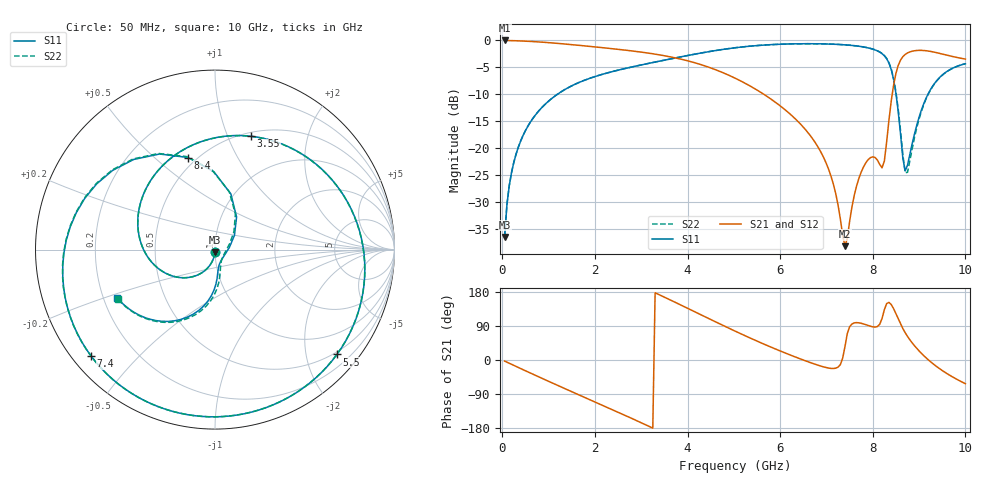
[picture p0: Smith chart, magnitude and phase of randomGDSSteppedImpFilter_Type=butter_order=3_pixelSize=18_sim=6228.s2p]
! freq	dB(S11)	phase(S11)	dB(S12)	phase(S12)
!  dB(S21)	phase(S21)	dB(S22)	phase(S22)
!S-par simulation data
#  GHz  S  DB  R 50
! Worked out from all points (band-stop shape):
!   200 points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, 50 MHz to 10 GHz, reference 50 ohm
!   highest |S21| = -0.01 dB at 50 MHz (marker M1); lowest = -38.2 dB at 7.4 GHz (marker M2)
!   |S21| within 3 dB of the highest: start of sweep to 3.602 GHz; 8.651 GHz to 9.734 GHz (1.082 GHz wide, 11.8 % of centre)
!   lowest |S11| = -36.5 dB at 50 MHz (marker M3), VSWR 1.03, Z = 49.9 - j1.49 ohm
!   |S11| at or under -10 dB: start of sweep to 1.189 GHz; 8.503 GHz to 9.192 GHz (689 MHz wide, 7.79 % of centre)
!   |S22| runs from -36.5 to -0.6 dB; largest |S21 - S12| = 0
!   S11 on the Smith chart (normalised r, x): 50 MHz: 1.00, -0.03; 3.55 GHz: 0.54, +1.22; 5.5 GHz: 0.44, -2.63; 7.4 GHz: 0.05, -0.37; 8.4 GHz: 0.45, +0.65; 10 GHz: 0.26, -0.22
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0.05  -36.51 -92.7  -0.01 -2.9  -0.01 -2.9  -36.51 -92.7
0.2  -24.51 -101.6  -0.04 -11.5  -0.04 -11.5  -24.51 -101.7
0.5  -16.74 -119.0  -0.14 -28.4  -0.14 -28.4  -16.74 -119.0
1.75  -7.48 172.1  -0.99 -97.2  -0.99 -97.2  -7.48 172.0
2.65  -5.21 123.2  -1.80 -146.1  -1.80 -146.1  -5.21 123.0
3.4  -3.83 81.0  -2.69 171.7  -2.69 171.7  -3.83 80.7
3.55  -3.57 72.3  -2.92 163.0  -2.92 163.0  -3.57 72.1
4.3  -2.32 28.1  -4.52 118.7  -4.52 118.7  -2.32 27.9
5.05  -1.34 -15.7  -7.10 74.9  -7.10 74.9  -1.34 -15.9
5.5  -0.95 -40.7  -9.21 49.9  -9.21 49.9  -0.95 -41.0
6.7  -0.61 -102.2  -18.24 -8.9  -18.24 -8.9  -0.61 -102.5
7.1  -0.68 -122.7  -25.25 -22.2  -25.25 -22.2  -0.68 -123.0
7.4  -0.82 -139.2  -38.20 35.6  -38.20 35.6  -0.82 -139.6
7.7  -1.08 -158.4  -25.61 98.1  -25.61 98.1  -1.08 -158.8
8  -1.61 176.5  -21.61 87.5  -21.61 87.5  -1.60 176.1
8.2  -2.45 150.9  -23.65 109.4  -23.65 109.4  -2.42 150.8
8.35  -4.21 120.1  -14.75 152.0  -14.75 152.0  -4.13 120.5
8.4  -5.44 106.3  -11.16 146.2  -11.16 146.2  -5.32 107.0
8.5  -9.83 74.1  -6.12 122.1  -6.12 122.1  -9.55 76.3
8.7  -24.22 -31.1  -2.60 72.0  -2.60 72.0  -24.58 -11.9
9.15  -10.74 -97.9  -1.91 5.8  -1.91 5.8  -10.87 -94.9
10  -4.32 -154.0  -3.46 -62.6  -3.46 -62.6  -4.33 -153.2
